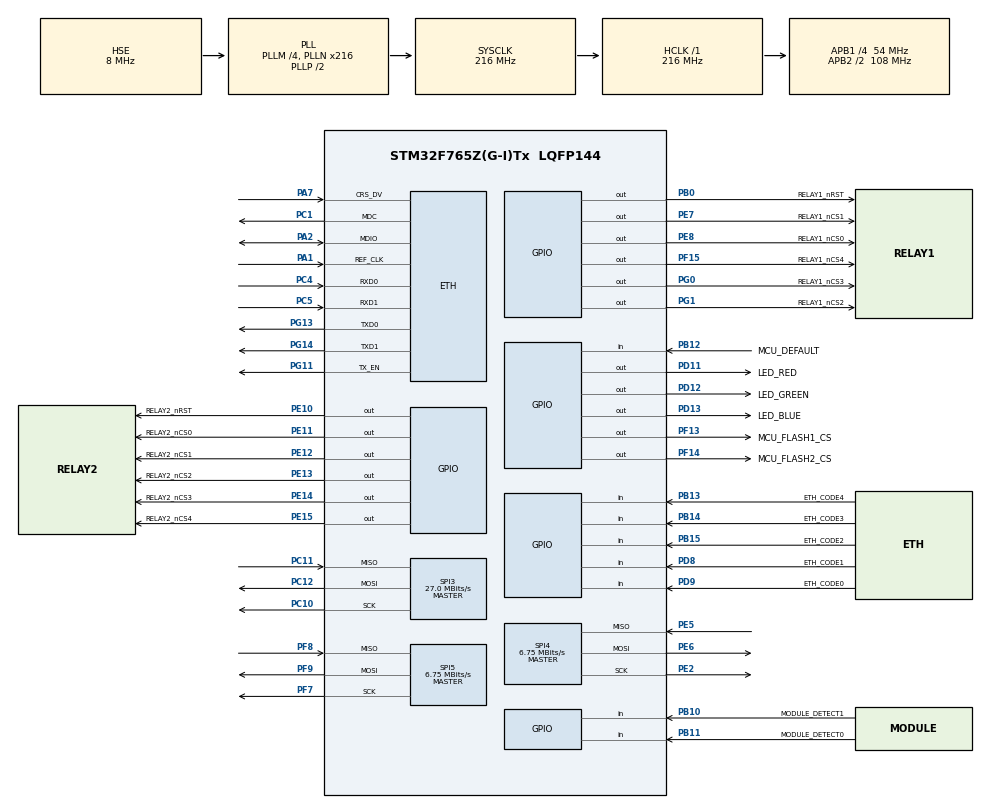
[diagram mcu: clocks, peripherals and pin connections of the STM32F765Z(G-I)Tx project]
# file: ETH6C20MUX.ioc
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ETH.MediaInterface=ETH_MEDIA_INTERFACE_RMII
ETH.PhyAddress=0
FREERTOS.Tasks01=defaultTask,24,128,StartDefaultTask,Default,NULL,Dynamic,NULL,NULL
LWIP.ARP_QUEUEING=1
LWIP.ETHARP_DEBUG=LWIP_DBG_ON
LWIP.GATEWAY_ADDRESS=192.168.000.001
LWIP.ICMP_DEBUG=LWIP_DBG_ON
LWIP.IP_ADDRESS=192.168.000.123
LWIP.LWIP_BROADCAST_PING=1
LWIP.LWIP_DBG_MIN_LEVEL=LWIP_DBG_LEVEL_SEVERE
LWIP.LWIP_DHCP=0
LWIP.LWIP_HTTPD=0
LWIP.LWIP_IPV6=0
LWIP.LWIP_MULTICAST_PING=1
LWIP.LWIP_RAW=1
LWIP.NETMASK_ADDRESS=255.255.255.000
LWIP.Version=v2.1.2_Cube
Mcu.Family=STM32F7
Mcu.Name=STM32F765Z(G-I)Tx
Mcu.Package=LQFP144
NVIC.ETH_IRQn=true\:5\:0\:false\:false\:true\:true\:false\:true
NVIC.PriorityGroup=NVIC_PRIORITYGROUP_4
NVIC.TIM1_UP_TIM10_IRQn=true\:0\:0\:false\:false\:true\:false\:false\:true
NVIC.TimeBase=TIM1_UP_TIM10_IRQn
NVIC.TimeBaseIP=TIM1
PA1.Mode=RMII
PA1.Signal=ETH_REF_CLK
PA13.Mode=Serial_Wire
PA13.Signal=SYS_JTMS-SWDIO
PA14.Mode=Serial_Wire
PA14.Signal=SYS_JTCK-SWCLK
PA2.Mode=RMII
PA2.Signal=ETH_MDIO
PA7.Mode=RMII
PA7.Signal=ETH_CRS_DV
PB0.GPIO_Label=RELAY1_nRST
PB0.GPIO_PuPd=GPIO_PULLUP
PB0.GPIO_Speed=GPIO_SPEED_FREQ_VERY_HIGH
PB0.PinState=GPIO_PIN_SET
PB0.Signal=GPIO_Output
PB10.GPIO_Label=MODULE_DETECT1
PB10.GPIO_PuPd=GPIO_PULLDOWN
PB10.Signal=GPIO_Input
PB11.GPIO_Label=MODULE_DETECT0
PB11.GPIO_PuPd=GPIO_PULLDOWN
PB11.Signal=GPIO_Input
PB12.GPIO_Label=MCU_DEFAULT
PB12.Signal=GPIO_Input
PB13.GPIO_Label=ETH_CODE4
PB13.GPIO_PuPd=GPIO_PULLDOWN
PB13.Signal=GPIO_Input
PB14.GPIO_Label=ETH_CODE3
PB14.GPIO_PuPd=GPIO_PULLDOWN
PB14.Signal=GPIO_Input
PB15.GPIO_Label=ETH_CODE2
PB15.GPIO_PuPd=GPIO_PULLDOWN
PB15.Signal=GPIO_Input
PC1.Mode=RMII
PC1.Signal=ETH_MDC
PC10.Mode=Full_Duplex_Master
PC10.Signal=SPI3_SCK
PC11.Mode=Full_Duplex_Master
PC11.Signal=SPI3_MISO
PC12.Mode=Full_Duplex_Master
PC12.Signal=SPI3_MOSI
PC4.Mode=RMII
PC4.Signal=ETH_RXD0
PC5.Mode=RMII
PC5.Signal=ETH_RXD1
PD11.GPIO_Label=LED_RED
PD11.PinState=GPIO_PIN_SET
PD11.Signal=GPIO_Output
PD12.GPIO_Label=LED_GREEN
PD12.PinState=GPIO_PIN_SET
PD12.Signal=GPIO_Output
PD13.GPIO_Label=LED_BLUE
PD13.PinState=GPIO_PIN_SET
PD13.Signal=GPIO_Output
PD8.GPIO_Label=ETH_CODE1
PD8.GPIO_PuPd=GPIO_PULLDOWN
PD8.Signal=GPIO_Input
PD9.GPIO_Label=ETH_CODE0
PD9.GPIO_PuPd=GPIO_PULLDOWN
PD9.Signal=GPIO_Input
PE10.GPIO_Label=RELAY2_nRST
PE10.GPIO_PuPd=GPIO_PULLUP
PE10.GPIO_Speed=GPIO_SPEED_FREQ_VERY_HIGH
PE10.PinState=GPIO_PIN_SET
PE10.Signal=GPIO_Output
PE11.GPIO_Label=RELAY2_nCS0
PE11.GPIO_PuPd=GPIO_PULLUP
PE11.GPIO_Speed=GPIO_SPEED_FREQ_VERY_HIGH
PE11.PinState=GPIO_PIN_SET
PE11.Signal=GPIO_Output
PE12.GPIO_Label=RELAY2_nCS1
PE12.GPIO_PuPd=GPIO_PULLUP
PE12.GPIO_Speed=GPIO_SPEED_FREQ_VERY_HIGH
PE12.PinState=GPIO_PIN_SET
PE12.Signal=GPIO_Output
PE13.GPIO_Label=RELAY2_nCS2
PE13.GPIO_Speed=GPIO_SPEED_FREQ_VERY_HIGH
PE13.PinState=GPIO_PIN_SET
PE13.Signal=GPIO_Output
PE14.GPIO_Label=RELAY2_nCS3
PE14.GPIO_PuPd=GPIO_PULLUP
PE14.GPIO_Speed=GPIO_SPEED_FREQ_VERY_HIGH
PE14.PinState=GPIO_PIN_SET
PE14.Signal=GPIO_Output
PE15.GPIO_Label=RELAY2_nCS4
PE15.GPIO_PuPd=GPIO_PULLUP
PE15.GPIO_Speed=GPIO_SPEED_FREQ_VERY_HIGH
PE15.PinState=GPIO_PIN_SET
PE15.Signal=GPIO_Output
PE2.Mode=Full_Duplex_Master
PE2.Signal=SPI4_SCK
PE5.Mode=Full_Duplex_Master
PE5.Signal=SPI4_MISO
PE6.Mode=Full_Duplex_Master
PE6.Signal=SPI4_MOSI
PE7.GPIO_Label=RELAY1_nCS1
PE7.GPIO_PuPd=GPIO_PULLUP
PE7.GPIO_Speed=GPIO_SPEED_FREQ_VERY_HIGH
PE7.PinState=GPIO_PIN_SET
PE7.Signal=GPIO_Output
PE8.GPIO_Label=RELAY1_nCS0
PE8.GPIO_PuPd=GPIO_PULLUP
PE8.GPIO_Speed=GPIO_SPEED_FREQ_VERY_HIGH
PE8.PinState=GPIO_PIN_SET
PE8.Signal=GPIO_Output
PF13.GPIO_Label=MCU_FLASH1_CS
PF13.GPIO_PuPd=GPIO_PULLUP
PF13.GPIO_Speed=GPIO_SPEED_FREQ_VERY_HIGH
PF13.Signal=GPIO_Output
PF14.GPIO_Label=MCU_FLASH2_CS
PF14.GPIO_PuPd=GPIO_PULLUP
PF14.GPIO_Speed=GPIO_SPEED_FREQ_VERY_HIGH
PF14.Signal=GPIO_Output
PF15.GPIO_Label=RELAY1_nCS4
PF15.GPIO_PuPd=GPIO_PULLUP
PF15.GPIO_Speed=GPIO_SPEED_FREQ_VERY_HIGH
PF15.PinState=GPIO_PIN_SET
PF15.Signal=GPIO_Output
PF7.Mode=Full_Duplex_Master
PF7.Signal=SPI5_SCK
PF8.Mode=Full_Duplex_Master
PF8.Signal=SPI5_MISO
PF9.Mode=Full_Duplex_Master
PF9.Signal=SPI5_MOSI
PG0.GPIO_Label=RELAY1_nCS3
PG0.GPIO_PuPd=GPIO_PULLUP
PG0.GPIO_Speed=GPIO_SPEED_FREQ_VERY_HIGH
PG0.PinState=GPIO_PIN_SET
PG0.Signal=GPIO_Output
PG1.GPIO_Label=RELAY1_nCS2
PG1.GPIO_PuPd=GPIO_PULLUP
PG1.GPIO_Speed=GPIO_SPEED_FREQ_VERY_HIGH
PG1.PinState=GPIO_PIN_SET
PG1.Signal=GPIO_Output
PG11.Mode=RMII
PG11.Signal=ETH_TX_EN
PG13.Mode=RMII
PG13.Signal=ETH_TXD0
PG14.Mode=RMII
PG14.Signal=ETH_TXD1
PH0/OSC_IN.Mode=HSE-External-Oscillator
PH0/OSC_IN.Signal=RCC_OSC_IN
PH1/OSC_OUT.Mode=HSE-External-Oscillator
PH1/OSC_OUT.Signal=RCC_OSC_OUT
ProjectManager.HeapSize=0x200
ProjectManager.StackSize=0x400
ProjectManager.TargetToolchain=STM32CubeIDE
RCC.AHBFreq_Value=216000000
RCC.APB1CLKDivider=RCC_HCLK_DIV4
RCC.APB1Freq_Value=54000000
RCC.APB1TimFreq_Value=108000000
RCC.APB2CLKDivider=RCC_HCLK_DIV2
RCC.APB2Freq_Value=108000000
RCC.APB2TimFreq_Value=216000000
RCC.CortexFreq_Value=216000000
RCC.HCLKFreq_Value=216000000
RCC.HSE_VALUE=8000000
RCC.HSI_VALUE=16000000
RCC.LSE_VALUE=32768
RCC.PLLM=4
RCC.PLLN=216
RCC.PLLSourceVirtual=RCC_PLLSOURCE_HSE
RCC.SYSCLKFreq_VALUE=216000000
RCC.SYSCLKSource=RCC_SYSCLKSOURCE_PLLCLK
RCC.USBFreq_Value=216000000
RCC.VCOOutputFreq_Value=432000000
SPI3.CalculateBaudRate=27.0 MBits/s
SPI3.DataSize=SPI_DATASIZE_8BIT
SPI3.Direction=SPI_DIRECTION_2LINES
SPI3.Mode=SPI_MODE_MASTER
SPI3.VirtualType=VM_MASTER
SPI4.BaudRatePrescaler=SPI_BAUDRATEPRESCALER_16
SPI4.CLKPhase=SPI_PHASE_2EDGE
SPI4.CalculateBaudRate=6.75 MBits/s
SPI4.DataSize=SPI_DATASIZE_8BIT
SPI4.Direction=SPI_DIRECTION_2LINES
SPI4.Mode=SPI_MODE_MASTER
SPI4.VirtualType=VM_MASTER
SPI5.BaudRatePrescaler=SPI_BAUDRATEPRESCALER_16
SPI5.CLKPhase=SPI_PHASE_2EDGE
SPI5.CalculateBaudRate=6.75 MBits/s
SPI5.DataSize=SPI_DATASIZE_8BIT
SPI5.Direction=SPI_DIRECTION_2LINES
SPI5.Mode=SPI_MODE_MASTER
SPI5.VirtualType=VM_MASTER
VP_FREERTOS_VS_CMSIS_V2.Mode=CMSIS_V2
VP_LWIP_VS_Enabled.Mode=Enabled
VP_SYS_VS_tim1.Mode=TIM1
board=custom

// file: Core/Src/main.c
/* USER CODE BEGIN Header */
/**
  ******************************************************************************
  * @file           : main.c
  * @brief          : Main program body
  ******************************************************************************
  * @attention
  *
  * <h2><center>&copy; Copyright (c) 2019 STMicroelectronics.
  * All rights reserved.</center></h2>
  *
  * This software component is licensed by ST under BSD 3-Clause license,
  * the "License"; You may not use this file except in compliance with the
  * License. You may obtain a copy of the License at:
  *                        opensource.org/licenses/BSD-3-Clause
  *
  ******************************************************************************
  */

#include "defines.h"
#include "spi_flash.h"
#include "matrix.h"
#include "scpi/scpi.h"
#include "scpi_def.h"
#include "stm32f7xx_hal_spi.h"

/* USER CODE END Header */
#include "main.h"
#include "cmsis_os.h"
#include "lwip.h"

SPI_HandleTypeDef hspi3;
SPI_HandleTypeDef hspi4;
SPI_HandleTypeDef hspi5;

/* Definitions for defaultTask */
osThreadId_t defaultTaskHandle;
const osThreadAttr_t defaultTask_attributes = {
  .name = "defaultTask",
  .priority = (osPriority_t) osPriorityNormal,
  .stack_size = 128 * 4
};

void SystemClock_Config(void);
static void MX_GPIO_Init(void);
static void MX_SPI5_Init(void);
static void MX_SPI3_Init(void);
static void MX_SPI4_Init(void);
void StartDefaultTask(void *argument);

/* USER CODE BEGIN 0 */

void BSP_CreateDefaultData()
{
	default_board.scpi_info.manufacturer = (char)malloc(SCPI_MANUFACTURER_STRING_LENGTH*sizeof(char));
	default_board.scpi_info.device = (char)malloc(SCPI_DEVICE_STRING_LENGTH*sizeof(char));
	default_board.scpi_info.serial_number = (char)malloc(SCPI_SERIALNUMBER_STRING_LENGTH*sizeof(char));
	default_board.scpi_info.software_version = (char)malloc(SCPI_SOFTWAREVERSION_STRING_LENGTH*sizeof(char));
	default_board.security.password = (char)malloc(PASSWORD_LENGTH*sizeof(char));
	default_board.ip4_current.hostname = (char)malloc(NET_HOSTNAME*sizeof(char));
	default_board.ip4_static.hostname = (char)malloc(NET_HOSTNAME*sizeof(char));

	default_board.scpi_info.manufacturer = SCPI_IDN1;
	default_board.scpi_info.device = SCPI_IDN2;
	default_board.scpi_info.serial_number = SCPI_IDN3;
	default_board.scpi_info.software_version = SCPI_IDN4;

	default_board.security.on = SECURITY_ON;
	default_board.security.password = PASSWORD;

	default_board.module.detected = FALSE;

	default_board.ip4_static.hostname = default_board.ip4_current.hostname = SCPI_IDN2;
	default_board.ip4_static.ip[0] = default_board.ip4_current.ip[0] = IP_ADDRESS0;
	default_board.ip4_static.ip[1] = default_board.ip4_current.ip[1] = IP_ADDRESS1;
	default_board.ip4_static.ip[2] = default_board.ip4_current.ip[2] = IP_ADDRESS2;
	default_board.ip4_static.ip[3] = default_board.ip4_current.ip[3] = IP_ADDRESS3;

	default_board.ip4_static.netmask[0] = default_board.ip4_current.netmask[0] = NETMASK_ADDRESS0;
	default_board.ip4_static.netmask[1] = default_board.ip4_current.netmask[1] = NETMASK_ADDRESS1;
	default_board.ip4_static.netmask[2] = default_board.ip4_current.netmask[2] = NETMASK_ADDRESS2;
	default_board.ip4_static.netmask[3] = default_board.ip4_current.netmask[3] = NETMASK_ADDRESS3;

	default_board.ip4_static.gateway[0] = default_board.ip4_current.gateway[0] = GATEWAY_ADDRESS0;
	default_board.ip4_static.gateway[1] = default_board.ip4_current.gateway[1] = GATEWAY_ADDRESS1;
	default_board.ip4_static.gateway[2] = default_board.ip4_current.gateway[2] = GATEWAY_ADDRESS2;
	default_board.ip4_static.gateway[3] = default_board.ip4_current.gateway[3] = GATEWAY_ADDRESS3;

	default_board.ip4_static.hw_code = default_board.ip4_current.hw_code = 0;
	default_board.ip4_static.hw_code = default_board.ip4_current.hw_code = 0;

	default_board.ip4_static.MAC[0] = default_board.ip4_current.MAC[0] = MAC0;
	default_board.ip4_static.MAC[1] = default_board.ip4_current.MAC[1] = MAC1;
	default_board.ip4_static.MAC[2] = default_board.ip4_current.MAC[2] = MAC2;
	default_board.ip4_static.MAC[3] = default_board.ip4_current.MAC[3] = MAC3;
	default_board.ip4_static.MAC[4] = default_board.ip4_current.MAC[4] = MAC4;
	default_board.ip4_static.MAC[5] = default_board.ip4_current.MAC[5] = MAC5;

	default_board.default_config = DEFAULT_OFF;

	board = default_board;

}

uint8_t BSP_ReadHWCode()
{
	uint8_t result = 0;

	result = (uint8_t)((HAL_GPIO_ReadPin(ETH_CODE4_GPIO_Port, ETH_CODE4_Pin) << 4) | (HAL_GPIO_ReadPin(ETH_CODE3_GPIO_Port, ETH_CODE3_Pin) << 3) |
			 (HAL_GPIO_ReadPin(ETH_CODE2_GPIO_Port, ETH_CODE2_Pin) << 2) | (HAL_GPIO_ReadPin(ETH_CODE1_GPIO_Port, ETH_CODE1_Pin) << 1) |
			 (HAL_GPIO_ReadPin(ETH_CODE0_GPIO_Port, ETH_CODE0_Pin)));

	return result;
}

void BSP_DetectDefaultConfig()
{
	board.default_config = !HAL_GPIO_ReadPin(MCU_DEFAULT_GPIO_Port, MCU_DEFAULT_Pin);
}

/* USER CODE END 0 */

int main(void)
{

  /* MCU Configuration--------------------------------------------------------*/

  /* Reset of all peripherals, Initializes the Flash interface and the Systick. */
  HAL_Init();

  /* Configure the system clock */
  SystemClock_Config();

  /* Initialize all configured peripherals */
  MX_GPIO_Init();
  MX_SPI5_Init();
  MX_SPI3_Init();
  MX_SPI4_Init();
  /* USER CODE BEGIN 2 */

  BSP_CreateDefaultData();
  BSP_DetectDefaultConfig();
  //BSP_PinInit();

  MX_LWIP_Init();

  SPI_FLASH_BoardDefault(FALSE);
  SPI_FLASH_ReadData();

  MATRIX_InitMain();
  MATRIX_ResetSPICommands();

  /* USER CODE END 2 */

  /* Init scheduler */
  osKernelInitialize();

  /* Create the thread(s) */
  /* creation of defaultTask */
  //defaultTaskHandle = osThreadNew(StartDefaultTask, NULL, &defaultTask_attributes);

  /* USER CODE BEGIN RTOS_THREADS */
  /* add threads, ... */
  scpi_server_init();
  /* USER CODE END RTOS_THREADS */

  /* Start scheduler */
  osKernelStart();

  /* We should never get here as control is now taken by the scheduler */
  /* Infinite loop */
  while(1)
  {
  }

}

void SystemClock_Config(void)
{
  RCC_OscInitTypeDef RCC_OscInitStruct = {0};
  RCC_ClkInitTypeDef RCC_ClkInitStruct = {0};

  /** Configure the main internal regulator output voltage
  */
  __HAL_RCC_PWR_CLK_ENABLE();
  __HAL_PWR_VOLTAGESCALING_CONFIG(PWR_REGULATOR_VOLTAGE_SCALE1);
  /** Initializes the RCC Oscillators according to the specified parameters
  * in the RCC_OscInitTypeDef structure.
  */
  RCC_OscInitStruct.OscillatorType = RCC_OSCILLATORTYPE_HSE;
  RCC_OscInitStruct.HSEState = RCC_HSE_ON;
  RCC_OscInitStruct.PLL.PLLState = RCC_PLL_ON;
  RCC_OscInitStruct.PLL.PLLSource = RCC_PLLSOURCE_HSE;
  RCC_OscInitStruct.PLL.PLLM = 4;
  RCC_OscInitStruct.PLL.PLLN = 216;
  RCC_OscInitStruct.PLL.PLLP = RCC_PLLP_DIV2;
  RCC_OscInitStruct.PLL.PLLQ = 2;
  if (HAL_RCC_OscConfig(&RCC_OscInitStruct) != HAL_OK)
  {
    Error_Handler();
  }
  /** Activate the Over-Drive mode
  */
  if (HAL_PWREx_EnableOverDrive() != HAL_OK)
  {
    Error_Handler();
  }
  /** Initializes the CPU, AHB and APB buses clocks
  */
  RCC_ClkInitStruct.ClockType = RCC_CLOCKTYPE_HCLK|RCC_CLOCKTYPE_SYSCLK
                              |RCC_CLOCKTYPE_PCLK1|RCC_CLOCKTYPE_PCLK2;
  RCC_ClkInitStruct.SYSCLKSource = RCC_SYSCLKSOURCE_PLLCLK;
  RCC_ClkInitStruct.AHBCLKDivider = RCC_SYSCLK_DIV1;
  RCC_ClkInitStruct.APB1CLKDivider = RCC_HCLK_DIV4;
  RCC_ClkInitStruct.APB2CLKDivider = RCC_HCLK_DIV2;

  if (HAL_RCC_ClockConfig(&RCC_ClkInitStruct, FLASH_LATENCY_7) != HAL_OK)
  {
    Error_Handler();
  }
}

static void MX_SPI3_Init(void)
{

  /* SPI3 parameter configuration*/
  hspi3.Instance = SPI3;
  hspi3.Init.Mode = SPI_MODE_MASTER;
  hspi3.Init.Direction = SPI_DIRECTION_2LINES;
  hspi3.Init.DataSize = SPI_DATASIZE_8BIT;
  hspi3.Init.CLKPolarity = SPI_POLARITY_LOW;
  hspi3.Init.CLKPhase = SPI_PHASE_1EDGE;
  hspi3.Init.NSS = SPI_NSS_SOFT;
  hspi3.Init.BaudRatePrescaler = SPI_BAUDRATEPRESCALER_2;
  hspi3.Init.FirstBit = SPI_FIRSTBIT_MSB;
  hspi3.Init.TIMode = SPI_TIMODE_DISABLE;
  hspi3.Init.CRCCalculation = SPI_CRCCALCULATION_DISABLE;
  hspi3.Init.CRCPolynomial = 7;
  hspi3.Init.CRCLength = SPI_CRC_LENGTH_DATASIZE;
  hspi3.Init.NSSPMode = SPI_NSS_PULSE_ENABLE;
  if (HAL_SPI_Init(&hspi3) != HAL_OK)
  {
    Error_Handler();
  }

}

static void MX_SPI4_Init(void)
{

  /* SPI4 parameter configuration*/
  hspi4.Instance = SPI4;
  hspi4.Init.Mode = SPI_MODE_MASTER;
  hspi4.Init.Direction = SPI_DIRECTION_2LINES;
  hspi4.Init.DataSize = SPI_DATASIZE_8BIT;
  hspi4.Init.CLKPolarity = SPI_POLARITY_LOW;
  hspi4.Init.CLKPhase = SPI_PHASE_2EDGE;
  hspi4.Init.NSS = SPI_NSS_SOFT;
  hspi4.Init.BaudRatePrescaler = SPI_BAUDRATEPRESCALER_16;
  hspi4.Init.FirstBit = SPI_FIRSTBIT_MSB;
  hspi4.Init.TIMode = SPI_TIMODE_DISABLE;
  hspi4.Init.CRCCalculation = SPI_CRCCALCULATION_DISABLE;
  hspi4.Init.CRCPolynomial = 7;
  hspi4.Init.CRCLength = SPI_CRC_LENGTH_DATASIZE;
  hspi4.Init.NSSPMode = SPI_NSS_PULSE_DISABLE;
  if (HAL_SPI_Init(&hspi4) != HAL_OK)
  {
    Error_Handler();
  }

}

static void MX_SPI5_Init(void)
{

  /* SPI5 parameter configuration*/
  hspi5.Instance = SPI5;
  hspi5.Init.Mode = SPI_MODE_MASTER;
  hspi5.Init.Direction = SPI_DIRECTION_2LINES;
  hspi5.Init.DataSize = SPI_DATASIZE_8BIT;
  hspi5.Init.CLKPolarity = SPI_POLARITY_LOW;
  hspi5.Init.CLKPhase = SPI_PHASE_2EDGE;
  hspi5.Init.NSS = SPI_NSS_SOFT;
  hspi5.Init.BaudRatePrescaler = SPI_BAUDRATEPRESCALER_16;
  hspi5.Init.FirstBit = SPI_FIRSTBIT_MSB;
  hspi5.Init.TIMode = SPI_TIMODE_DISABLE;
  hspi5.Init.CRCCalculation = SPI_CRCCALCULATION_DISABLE;
  hspi5.Init.CRCPolynomial = 7;
  hspi5.Init.CRCLength = SPI_CRC_LENGTH_DATASIZE;
  hspi5.Init.NSSPMode = SPI_NSS_PULSE_DISABLE;
  if (HAL_SPI_Init(&hspi5) != HAL_OK)
  {
    Error_Handler();
  }

}

static void MX_GPIO_Init(void)
{
  GPIO_InitTypeDef GPIO_InitStruct = {0};

  /* GPIO Ports Clock Enable */
  __HAL_RCC_GPIOE_CLK_ENABLE();
  __HAL_RCC_GPIOF_CLK_ENABLE();
  __HAL_RCC_GPIOH_CLK_ENABLE();
  __HAL_RCC_GPIOC_CLK_ENABLE();
  __HAL_RCC_GPIOA_CLK_ENABLE();
  __HAL_RCC_GPIOB_CLK_ENABLE();
  __HAL_RCC_GPIOG_CLK_ENABLE();
  __HAL_RCC_GPIOD_CLK_ENABLE();

  /*Configure GPIO pin Output Level */
  HAL_GPIO_WritePin(RELAY1_nRST_GPIO_Port, RELAY1_nRST_Pin, GPIO_PIN_SET);

  /*Configure GPIO pin Output Level */
  HAL_GPIO_WritePin(GPIOF, MCU_FLASH1_CS_Pin|MCU_FLASH2_CS_Pin, GPIO_PIN_RESET);

  /*Configure GPIO pin Output Level */
  HAL_GPIO_WritePin(RELAY1_nCS4_GPIO_Port, RELAY1_nCS4_Pin, GPIO_PIN_SET);

  /*Configure GPIO pin Output Level */
  HAL_GPIO_WritePin(GPIOG, RELAY1_nCS3_Pin|RELAY1_nCS2_Pin, GPIO_PIN_SET);

  /*Configure GPIO pin Output Level */
  HAL_GPIO_WritePin(GPIOE, RELAY1_nCS1_Pin|RELAY1_nCS0_Pin|RELAY2_nRST_Pin|RELAY2_nCS0_Pin
                          |RELAY2_nCS1_Pin|RELAY2_nCS2_Pin|RELAY2_nCS3_Pin|RELAY2_nCS4_Pin, GPIO_PIN_SET);

  /*Configure GPIO pin Output Level */
  HAL_GPIO_WritePin(GPIOD, LED_RED_Pin|LED_GREEN_Pin|LED_BLUE_Pin, GPIO_PIN_SET);

  /*Configure GPIO pin : RELAY1_nRST_Pin */
  GPIO_InitStruct.Pin = RELAY1_nRST_Pin;
  GPIO_InitStruct.Mode = GPIO_MODE_OUTPUT_PP;
  GPIO_InitStruct.Pull = GPIO_PULLUP;
  GPIO_InitStruct.Speed = GPIO_SPEED_FREQ_VERY_HIGH;
  HAL_GPIO_Init(RELAY1_nRST_GPIO_Port, &GPIO_InitStruct);

  /*Configure GPIO pins : MCU_FLASH1_CS_Pin MCU_FLASH2_CS_Pin RELAY1_nCS4_Pin */
  GPIO_InitStruct.Pin = MCU_FLASH1_CS_Pin|MCU_FLASH2_CS_Pin|RELAY1_nCS4_Pin;
  GPIO_InitStruct.Mode = GPIO_MODE_OUTPUT_PP;
  GPIO_InitStruct.Pull = GPIO_PULLUP;
  GPIO_InitStruct.Speed = GPIO_SPEED_FREQ_VERY_HIGH;
  HAL_GPIO_Init(GPIOF, &GPIO_InitStruct);

  /*Configure GPIO pins : RELAY1_nCS3_Pin RELAY1_nCS2_Pin */
  GPIO_InitStruct.Pin = RELAY1_nCS3_Pin|RELAY1_nCS2_Pin;
  GPIO_InitStruct.Mode = GPIO_MODE_OUTPUT_PP;
  GPIO_InitStruct.Pull = GPIO_PULLUP;
  GPIO_InitStruct.Speed = GPIO_SPEED_FREQ_VERY_HIGH;
  HAL_GPIO_Init(GPIOG, &GPIO_InitStruct);

  /*Configure GPIO pins : RELAY1_nCS1_Pin RELAY1_nCS0_Pin RELAY2_nRST_Pin RELAY2_nCS0_Pin
                           RELAY2_nCS1_Pin RELAY2_nCS3_Pin RELAY2_nCS4_Pin */
  GPIO_InitStruct.Pin = RELAY1_nCS1_Pin|RELAY1_nCS0_Pin|RELAY2_nRST_Pin|RELAY2_nCS0_Pin
                          |RELAY2_nCS1_Pin|RELAY2_nCS3_Pin|RELAY2_nCS4_Pin;
  GPIO_InitStruct.Mode = GPIO_MODE_OUTPUT_PP;
  GPIO_InitStruct.Pull = GPIO_PULLUP;
  GPIO_InitStruct.Speed = GPIO_SPEED_FREQ_VERY_HIGH;
  HAL_GPIO_Init(GPIOE, &GPIO_InitStruct);

  /*Configure GPIO pin : RELAY2_nCS2_Pin */
  GPIO_InitStruct.Pin = RELAY2_nCS2_Pin;
  GPIO_InitStruct.Mode = GPIO_MODE_OUTPUT_PP;
  GPIO_InitStruct.Pull = GPIO_NOPULL;
  GPIO_InitStruct.Speed = GPIO_SPEED_FREQ_VERY_HIGH;
  HAL_GPIO_Init(RELAY2_nCS2_GPIO_Port, &GPIO_InitStruct);

  /*Configure GPIO pins : MODULE_DETECT1_Pin MODULE_DETECT0_Pin ETH_CODE4_Pin ETH_CODE3_Pin
                           ETH_CODE2_Pin */
  GPIO_InitStruct.Pin = MODULE_DETECT1_Pin|MODULE_DETECT0_Pin|ETH_CODE4_Pin|ETH_CODE3_Pin
                          |ETH_CODE2_Pin;
  GPIO_InitStruct.Mode = GPIO_MODE_INPUT;
  GPIO_InitStruct.Pull = GPIO_PULLDOWN;
  HAL_GPIO_Init(GPIOB, &GPIO_InitStruct);

  /*Configure GPIO pin : MCU_DEFAULT_Pin */
  GPIO_InitStruct.Pin = MCU_DEFAULT_Pin;
  GPIO_InitStruct.Mode = GPIO_MODE_INPUT;
  GPIO_InitStruct.Pull = GPIO_NOPULL;
  HAL_GPIO_Init(MCU_DEFAULT_GPIO_Port, &GPIO_InitStruct);

  /*Configure GPIO pins : ETH_CODE1_Pin ETH_CODE0_Pin */
  GPIO_InitStruct.Pin = ETH_CODE1_Pin|ETH_CODE0_Pin;
  GPIO_InitStruct.Mode = GPIO_MODE_INPUT;
  GPIO_InitStruct.Pull = GPIO_PULLDOWN;
  HAL_GPIO_Init(GPIOD, &GPIO_InitStruct);

  /*Configure GPIO pins : LED_RED_Pin LED_GREEN_Pin LED_BLUE_Pin */
  GPIO_InitStruct.Pin = LED_RED_Pin|LED_GREEN_Pin|LED_BLUE_Pin;
  GPIO_InitStruct.Mode = GPIO_MODE_OUTPUT_PP;
  GPIO_InitStruct.Pull = GPIO_NOPULL;
  GPIO_InitStruct.Speed = GPIO_SPEED_FREQ_LOW;
  HAL_GPIO_Init(GPIOD, &GPIO_InitStruct);

}

void StartDefaultTask(void *argument)
{
  /* init code for LWIP */
  MX_LWIP_Init();
  for(;;)
  {
    osDelay(1);
  }
}

 /**
  * @brief  Period elapsed callback in non blocking mode
  * @note   This function is called  when TIM1 interrupt took place, inside
  * HAL_TIM_IRQHandler(). It makes a direct call to HAL_IncTick() to increment
  * a global variable "uwTick" used as application time base.
  * @param  htim : TIM handle
  * @retval None
  */
void HAL_TIM_PeriodElapsedCallback(TIM_HandleTypeDef *htim)
{
  if (htim->Instance == TIM1) {
    HAL_IncTick();
  }
}

void Error_Handler(void)
{
}

/************************ (C) COPYRIGHT STMicroelectronics *****END OF FILE****/
